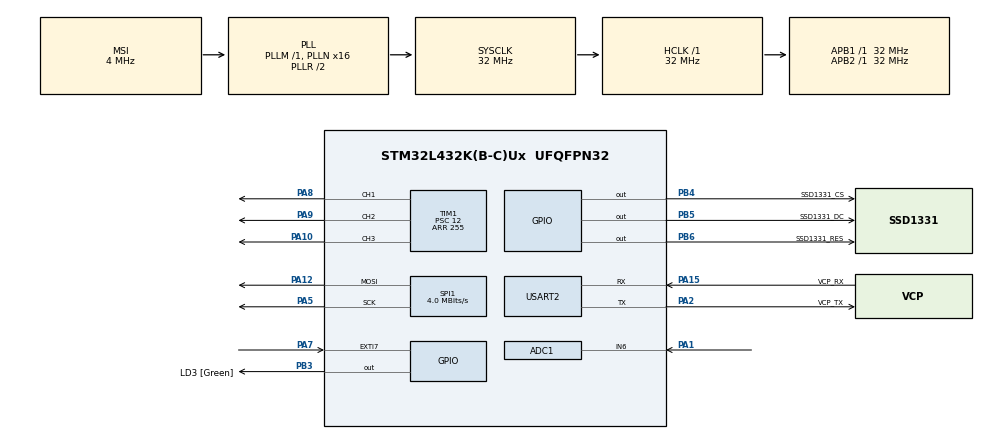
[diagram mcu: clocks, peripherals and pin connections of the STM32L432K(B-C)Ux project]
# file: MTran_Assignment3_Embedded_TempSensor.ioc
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ADC1.Channel-0\#ChannelRegularConversion=ADC_CHANNEL_6
ADC1.NbrOfConversionFlag=1
ADC1.OffsetNumber-0\#ChannelRegularConversion=ADC_OFFSET_NONE
ADC1.Rank-0\#ChannelRegularConversion=1
ADC1.SamplingTime-0\#ChannelRegularConversion=ADC_SAMPLETIME_2CYCLES_5
ADC1.master=1
Mcu.Family=STM32L4
Mcu.Name=STM32L432K(B-C)Ux
Mcu.Package=UFQFPN32
NVIC.EXTI9_5_IRQn=true\:0\:0\:false\:false\:true\:true\:true\:true
NVIC.PriorityGroup=NVIC_PRIORITYGROUP_4
NVIC.TIM2_IRQn=true\:0\:0\:false\:false\:true\:true\:true\:true
PA0.GPIO_Label=MCO [High speed clock in]
PA0.Mode=HSE-External-Clock-Source-for-LittleOrca
PA0.Signal=RCC_CK_IN
PA1.Signal=ADCx_IN6
PA10.Signal=S_TIM1_CH3
PA12.Mode=TX_Only_Simplex_Unidirect_Master
PA12.Signal=SPI1_MOSI
PA13\ (JTMS-SWDIO).GPIO_Label=SWDIO
PA13\ (JTMS-SWDIO).Mode=Serial_Wire
PA13\ (JTMS-SWDIO).Signal=SYS_JTMS-SWDIO
PA14\ (JTCK-SWCLK).GPIO_Label=SWCLK
PA14\ (JTCK-SWCLK).Mode=Serial_Wire
PA14\ (JTCK-SWCLK).Signal=SYS_JTCK-SWCLK
PA15\ (JTDI).GPIO_Label=VCP_RX
PA15\ (JTDI).Mode=Asynchronous
PA15\ (JTDI).Signal=USART2_RX
PA2.GPIO_Label=VCP_TX
PA2.Mode=Asynchronous
PA2.Signal=USART2_TX
PA5.Mode=TX_Only_Simplex_Unidirect_Master
PA5.Signal=SPI1_SCK
PA7.GPIO_ModeDefaultEXTI=GPIO_MODE_IT_FALLING
PA7.GPIO_PuPd=GPIO_PULLUP
PA7.Signal=GPXTI7
PA8.Signal=S_TIM1_CH1
PA9.Signal=S_TIM1_CH2
PB3\ (JTDO-TRACESWO).GPIO_Label=LD3 [Green]
PB3\ (JTDO-TRACESWO).Signal=GPIO_Output
PB4\ (NJTRST).GPIO_Label=SSD1331_CS
PB4\ (NJTRST).Signal=GPIO_Output
PB5.GPIO_Label=SSD1331_DC
PB5.Signal=GPIO_Output
PB6.GPIO_Label=SSD1331_RES
PB6.Signal=GPIO_Output
PC14-OSC32_IN\ (PC14).Mode=LSE-External-Oscillator
PC14-OSC32_IN\ (PC14).Signal=RCC_OSC32_IN
PC15-OSC32_OUT\ (PC15).Mode=LSE-External-Oscillator
PC15-OSC32_OUT\ (PC15).Signal=RCC_OSC32_OUT
ProjectManager.HeapSize=0x200
ProjectManager.StackSize=0x400
ProjectManager.TargetToolchain=STM32CubeIDE
RCC.ADCFreq_Value=32000000
RCC.AHBFreq_Value=32000000
RCC.APB1Freq_Value=32000000
RCC.APB1TimFreq_Value=32000000
RCC.APB2Freq_Value=32000000
RCC.APB2TimFreq_Value=32000000
RCC.CortexFreq_Value=32000000
RCC.HCLKFreq_Value=32000000
RCC.HSE_VALUE=8000000
RCC.HSI16_VALUE=16000000
RCC.HSI48_VALUE=48000000
RCC.HSI_VALUE=16000000
RCC.MSI_VALUE=4000000
RCC.PLLMUL=RCC_PLLMUL_4
RCC.PLLN=16
RCC.PLLSAI1N=16
RCC.SYSCLKFreq_VALUE=32000000
RCC.SYSCLKSource=RCC_SYSCLKSOURCE_PLLCLK
RCC.USBFreq_Value=32000000
RCC.VCOOutputFreq_Value=64000000
SH.ADCx_IN6.0=ADC1_IN6,IN6-Single-Ended
SH.S_TIM1_CH1.0=TIM1_CH1,PWM Generation1 CH1
SH.S_TIM1_CH2.0=TIM1_CH2,PWM Generation2 CH2
SH.S_TIM1_CH3.0=TIM1_CH3,PWM Generation3 CH3
SPI1.BaudRatePrescaler=SPI_BAUDRATEPRESCALER_8
SPI1.CalculateBaudRate=4.0 MBits/s
SPI1.DataSize=SPI_DATASIZE_8BIT
SPI1.Direction=SPI_DIRECTION_2LINES
SPI1.Mode=SPI_MODE_MASTER
SPI1.VirtualType=VM_MASTER
TIM1.Channel-PWM\ Generation1\ CH1=TIM_CHANNEL_1
TIM1.Channel-PWM\ Generation2\ CH2=TIM_CHANNEL_2
TIM1.Channel-PWM\ Generation3\ CH3=TIM_CHANNEL_3
TIM1.Period=255
TIM1.Prescaler=12
TIM1.Pulse-PWM\ Generation3\ CH3=0
TIM2.Channel-PWM\ Generation1\ No\ Output=TIM_CHANNEL_1
TIM2.Period=19
TIM2.Prescaler=31999
USART2.VirtualMode-Asynchronous=VM_ASYNC
VP_TIM1_VS_ClockSourceINT.Mode=Internal
VP_TIM2_VS_ClockSourceINT.Mode=Internal
VP_TIM2_VS_no_output1.Mode=PWM Generation1 No Output
board=NUCLEO-L432KC

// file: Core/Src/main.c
/* USER CODE BEGIN Header */
/**
  ******************************************************************************
  * @file           : main.c
  * @brief          : Main program body
  ******************************************************************************
  * @attention
  *
  * Copyright (c) 2022 STMicroelectronics.
  * All rights reserved.
  *
  * This software is licensed under terms that can be found in the LICENSE file
  * in the root directory of this software component.
  * If no LICENSE file comes with this software, it is provided AS-IS.
  *
  ******************************************************************************
  */

/*
* FILE : main.c
* PROJECT : Temperature Sensor - Assignment #3
* PROGRAMMER : Minh Quan Tran
* FIRST VERSION : 2024-07-20
* DESCRIPTION : This file is the main code file to read an MCP9700A temperature sensor
* and display it to the OLed and RGB Led
*/
/* USER CODE END Header */
#include "main.h"

/* USER CODE BEGIN Includes */
#include "ssd1331.h"
#include "logo.h"
#include "stm32l4xx_hal_tim.h"
#include <string.h>
#include <stdio.h>
#include <stdbool.h>
/* USER CODE END Includes */

/* USER CODE BEGIN PTD */
typedef struct
{
	uint8_t red;
	uint8_t green;
	uint8_t blue;
} RGBColor;
/* USER CODE END PTD */

/* USER CODE BEGIN PD */
#define RED_LED    (RGBColor) {255,0,0}
#define YELLOW_LED (RGBColor) {255,255,0}
#define ORANGE_LED (RGBColor) {255,165,0}
#define BLUE_LED   (RGBColor) {0,0,255}
#define WHITE_LED  (RGBColor) {255,255,255}

#define CELSIUS 0
#define FAHREN  1
/* USER CODE END PD */

ADC_HandleTypeDef hadc1;

SPI_HandleTypeDef hspi1;

TIM_HandleTypeDef htim1;
TIM_HandleTypeDef htim2;

UART_HandleTypeDef huart2;

/* USER CODE BEGIN PV */
bool tempScale = CELSIUS;
/* USER CODE END PV */

void SystemClock_Config(void);
static void MX_GPIO_Init(void);
static void MX_USART2_UART_Init(void);
static void MX_SPI1_Init(void);
static void MX_ADC1_Init(void);
static void MX_TIM1_Init(void);
static void MX_TIM2_Init(void);

/* USER CODE BEGIN 0 */

/* FUNCTION : convertBitToTempValue
*
* DESCRIPTION : This function is used to convert the temperature that read from ADC
* which is a 12 bit value to a temperature value (Detail in MCP9700A datasheet).
* PARAMETERS :
*
* uint32_t adcBitValue : Temperature read from ADC.
*
* RETURNS :
* float tempCelsius: temperature value in Celsius.
*/
float convertBitToTempValue(uint32_t adcBitValue)
{
	float adcVoltageValue = 0.0;
	float tempCelsius     = 0.0;

	// Convert Bit to Voltage value
	adcVoltageValue = adcBitValue * 3.3 / 4095;

	// Convert Voltage to Temp value (Celsius)
	tempCelsius = ((adcVoltageValue * 1000) - 500) / 10;
	return tempCelsius;
}

/* FUNCTION : convertCelsiusToFahren
*
* DESCRIPTION : This function is used to convert the temperature from Celsius
* to Fahrenheit.
* PARAMETERS :
*
* float tempCelsius: temperature in Celsius.
*
* RETURNS : float (temperature in Fahrenheit
*/
float convertCelsiusToFahren(float tempCelsius)
{
	return tempCelsius * 1.8 + 32;
}

/* FUNCTION : displayTemp
*
* DESCRIPTION : This function is used to display the temperature to an OLED
* by converting the temperature to string value and use an display string
* function in ssd1331.c
* PARAMETERS :
*
* float temperature : temperature value
* uint16_t scale    : scale to tell if it CELSIUS or FAHRENHEIT
*
* RETURNS : VOID
*/
void displayTemp(float temperature, uint16_t scale )
{
	char tempStr[100];
	// Convert float to string
	sprintf(tempStr,"%.2f",temperature);

	// Check if *C or *F
	if (scale == CELSIUS)
	{
		sprintf(tempStr,"%.2f",temperature);
		strcat(tempStr,"C ");
	}
	else
	{
		temperature = convertCelsiusToFahren(temperature);
		sprintf(tempStr,"%.2f",temperature);
		strcat(tempStr,"F");
	}
	// Displaying temperature
	ssd1331_display_string(32, 10, tempStr, FONT_1608, RED);
}

/* FUNCTION : readTempSensor
*
* DESCRIPTION : This function is used to read the temperature using the ADC
* PARAMETERS : VOID
*
* RETURNS : VOID
*/
uint32_t readTempSensor(void)
{
	uint32_t adcBitValue = 0;
	/*##-3- Start the conversion process #######################################*/
	if (HAL_ADC_Start(&hadc1) != HAL_OK)
	{
	  /* Start Conversation Error */
		Error_Handler();
	}

	/*##-4- Wait for the end of conversion #####################################*/
	/*  For simplicity reasons, this example is just waiting till the end of the
	    conversion, but application may perform other tasks while conversion
	    operation is ongoing. */
	if (HAL_ADC_PollForConversion(&hadc1, 10) != HAL_OK)
	{
		/* End Of Conversion flag not set on time */
		Error_Handler();
	}
	else
	{
	  /* ADC conversion completed */
	  /*##-5- Get the converted value of regular channel  ########################*/
		adcBitValue = HAL_ADC_GetValue(&hadc1);
		HAL_ADC_Stop(&hadc1);
		return adcBitValue;
	}
	return NOTHING;
}

/* FUNCTION : setLed
*
* DESCRIPTION : This function is used to set the RGB LED by changing the duty cycle
* (pulse value) of each timer 1 channel.
*
* PARAMETERS :
*
* RGBColor ledColor: struct that contain the 3 RGB color value;
*
* RETURNS : VOID
*/
void setLed(RGBColor ledColor)
{
	__HAL_TIM_SET_COMPARE(&htim1, TIM_CHANNEL_1, ledColor.red);
	__HAL_TIM_SET_COMPARE(&htim1, TIM_CHANNEL_2, ledColor.green);
	__HAL_TIM_SET_COMPARE(&htim1, TIM_CHANNEL_3, ledColor.blue);
}

/* FUNCTION : getLedColor
*
* DESCRIPTION : This function is used to get the RGB Color value for the
* setLed function
*
* PARAMETERS :
*
* float temperature: temperature value in Celsius
*
* RETURNS : RGBColor : the duty cycle for each color
*/
RGBColor getLedColor(float temperature)
{
	if (temperature > 25.0)
	{
		return RED_LED;
	}
	else if (temperature > 15.0)
	{
		return ORANGE_LED;
	}
	else if (temperature > 5.0)
	{
		return YELLOW_LED;
	}
	else if (temperature > -15.0)
	{
		return BLUE_LED;
	}
	else
	{
		return WHITE_LED;
	}
}

/* FUNCTION : setLedFromTemp
*
* DESCRIPTION : This function compare the temperature value and set
* the RGB LED accordingly.
*
* PARAMETERS :
*
* float temperature: temperature value in Celsius
*
* RETURNS : VOID
*/
void setLedFromTemp(float temperature)
{
	RGBColor Color = getLedColor(temperature);
	setLed(Color);
}

/* FUNCTION : buttonCallback
*
* DESCRIPTION : This function is used to call back whenever button is pressed.
* The purpose is to toggle the scale to be either CELSIUS or FAHRENHEIT
*
* PARAMETERS : VOID
*
* RETURNS : VOID
*
*/
void buttonCallback(void)
{
	if (tempScale == CELSIUS)
	{
		tempScale = FAHREN;
	}
	else
	{
		tempScale = CELSIUS;
	}
}

/* FUNCTION : HAL_GPIO_EXTI_Callback
*
* DESCRIPTION : This function is used to call back whenever there an external interrupt
* happen. It used to start the timer to count for 20ms
*
* PARAMETERS :
*
* uint16_t GPIO_Pin: PIN number
*
* RETURNS : VOID
*
*/
void HAL_GPIO_EXTI_Callback(uint16_t GPIO_Pin)
{
    if (GPIO_Pin == GPIO_PIN_7)
    {
        // Start a timer to handle debounce
        HAL_TIM_Base_Start_IT(&htim2);
    }
}

/* FUNCTION : HAL_TIM_PeriodElapsedCallback
*
* DESCRIPTION : This function is used to check the button state after
* 20ms to see if the button remained at a previous state (debounce)
*
* PARAMETERS :
*
* TIM_HandleTypeDef *htim: timer
*
* RETURNS : VOID
*
*/
void HAL_TIM_PeriodElapsedCallback(TIM_HandleTypeDef *htim)
{
    if (htim->Instance == TIM2) {
        // Stop the timer
        HAL_TIM_Base_Stop_IT(&htim2);

        // Check the button state after debounce time
        if (HAL_GPIO_ReadPin(GPIOA, GPIO_PIN_7) == GPIO_PIN_RESET)
        {
        	// Button is still pressed, call the buttonCallback function
        	buttonCallback();
        }
    }
}
/* USER CODE END 0 */

int main(void)
{
  /* USER CODE BEGIN 1 */
	uint32_t tempADC;
	float    tempValue;
	uint16_t printFlag = 0;
  /* USER CODE END 1 */

  /* MCU Configuration--------------------------------------------------------*/

  /* Reset of all peripherals, Initializes the Flash interface and the Systick. */
  HAL_Init();

  /* Configure the system clock */
  SystemClock_Config();

  /* Initialize all configured peripherals */
  MX_GPIO_Init();
  MX_USART2_UART_Init();
  MX_SPI1_Init();
  MX_ADC1_Init();
  MX_TIM1_Init();
  MX_TIM2_Init();
  /* USER CODE BEGIN 2 */

  //Start timer 1
  HAL_TIM_PWM_Start(&htim1, TIM_CHANNEL_1);
  HAL_TIM_PWM_Start(&htim1, TIM_CHANNEL_2);
  HAL_TIM_PWM_Start(&htim1, TIM_CHANNEL_3);

  // Start OLed and Display a green rectangle
  ssd1331_init();
  ssd1331_clear_screen(BLACK);
  ssd1331_draw_rect(0, 0, 90, 60, GREEN);
  /* USER CODE END 2 */

  /* Infinite loop */
  /* USER CODE BEGIN WHILE */
  while (1)
  {
	  // Get ADC Value
	  tempADC = readTempSensor();

	  // Convert ADC value to Temperature value (Celsius)
	  tempValue = convertBitToTempValue(tempADC);

	  // Display/Update temperature on OLed every 100ms
	  printFlag++;
	  if (printFlag == 100)
	  {
		  displayTemp(tempValue,tempScale);
		  printFlag = 0;
	  }
	  HAL_Delay(1);

	  // Set LED Color
	  setLedFromTemp(tempValue);

    /* USER CODE END WHILE */

    /* USER CODE BEGIN 3 */
  }
  return 0;
  /* USER CODE END 3 */
}

void SystemClock_Config(void)
{
  RCC_OscInitTypeDef RCC_OscInitStruct = {0};
  RCC_ClkInitTypeDef RCC_ClkInitStruct = {0};

  /** Configure the main internal regulator output voltage
  */
  if (HAL_PWREx_ControlVoltageScaling(PWR_REGULATOR_VOLTAGE_SCALE1) != HAL_OK)
  {
    Error_Handler();
  }

  /** Configure LSE Drive Capability
  */
  HAL_PWR_EnableBkUpAccess();
  __HAL_RCC_LSEDRIVE_CONFIG(RCC_LSEDRIVE_LOW);

  /** Initializes the RCC Oscillators according to the specified parameters
  * in the RCC_OscInitTypeDef structure.
  */
  RCC_OscInitStruct.OscillatorType = RCC_OSCILLATORTYPE_LSE|RCC_OSCILLATORTYPE_MSI;
  RCC_OscInitStruct.LSEState = RCC_LSE_ON;
  RCC_OscInitStruct.MSIState = RCC_MSI_ON;
  RCC_OscInitStruct.MSICalibrationValue = 0;
  RCC_OscInitStruct.MSIClockRange = RCC_MSIRANGE_6;
  RCC_OscInitStruct.PLL.PLLState = RCC_PLL_ON;
  RCC_OscInitStruct.PLL.PLLSource = RCC_PLLSOURCE_MSI;
  RCC_OscInitStruct.PLL.PLLM = 1;
  RCC_OscInitStruct.PLL.PLLN = 16;
  RCC_OscInitStruct.PLL.PLLP = RCC_PLLP_DIV7;
  RCC_OscInitStruct.PLL.PLLQ = RCC_PLLQ_DIV2;
  RCC_OscInitStruct.PLL.PLLR = RCC_PLLR_DIV2;
  if (HAL_RCC_OscConfig(&RCC_OscInitStruct) != HAL_OK)
  {
    Error_Handler();
  }

  /** Initializes the CPU, AHB and APB buses clocks
  */
  RCC_ClkInitStruct.ClockType = RCC_CLOCKTYPE_HCLK|RCC_CLOCKTYPE_SYSCLK
                              |RCC_CLOCKTYPE_PCLK1|RCC_CLOCKTYPE_PCLK2;
  RCC_ClkInitStruct.SYSCLKSource = RCC_SYSCLKSOURCE_PLLCLK;
  RCC_ClkInitStruct.AHBCLKDivider = RCC_SYSCLK_DIV1;
  RCC_ClkInitStruct.APB1CLKDivider = RCC_HCLK_DIV1;
  RCC_ClkInitStruct.APB2CLKDivider = RCC_HCLK_DIV1;

  if (HAL_RCC_ClockConfig(&RCC_ClkInitStruct, FLASH_LATENCY_1) != HAL_OK)
  {
    Error_Handler();
  }

  /** Enable MSI Auto calibration
  */
  HAL_RCCEx_EnableMSIPLLMode();
}

static void MX_ADC1_Init(void)
{

  ADC_ChannelConfTypeDef sConfig = {0};

  /** Common config
  */
  hadc1.Instance = ADC1;
  hadc1.Init.ClockPrescaler = ADC_CLOCK_ASYNC_DIV1;
  hadc1.Init.Resolution = ADC_RESOLUTION_12B;
  hadc1.Init.DataAlign = ADC_DATAALIGN_RIGHT;
  hadc1.Init.ScanConvMode = ADC_SCAN_DISABLE;
  hadc1.Init.EOCSelection = ADC_EOC_SINGLE_CONV;
  hadc1.Init.LowPowerAutoWait = DISABLE;
  hadc1.Init.ContinuousConvMode = DISABLE;
  hadc1.Init.NbrOfConversion = 1;
  hadc1.Init.DiscontinuousConvMode = DISABLE;
  hadc1.Init.ExternalTrigConv = ADC_SOFTWARE_START;
  hadc1.Init.ExternalTrigConvEdge = ADC_EXTERNALTRIGCONVEDGE_NONE;
  hadc1.Init.DMAContinuousRequests = DISABLE;
  hadc1.Init.Overrun = ADC_OVR_DATA_PRESERVED;
  hadc1.Init.OversamplingMode = DISABLE;
  if (HAL_ADC_Init(&hadc1) != HAL_OK)
  {
    Error_Handler();
  }

  /** Configure Regular Channel
  */
  sConfig.Channel = ADC_CHANNEL_6;
  sConfig.Rank = ADC_REGULAR_RANK_1;
  sConfig.SamplingTime = ADC_SAMPLETIME_2CYCLES_5;
  sConfig.SingleDiff = ADC_SINGLE_ENDED;
  sConfig.OffsetNumber = ADC_OFFSET_NONE;
  sConfig.Offset = 0;
  if (HAL_ADC_ConfigChannel(&hadc1, &sConfig) != HAL_OK)
  {
    Error_Handler();
  }

}

static void MX_SPI1_Init(void)
{

  /* SPI1 parameter configuration*/
  hspi1.Instance = SPI1;
  hspi1.Init.Mode = SPI_MODE_MASTER;
  hspi1.Init.Direction = SPI_DIRECTION_2LINES;
  hspi1.Init.DataSize = SPI_DATASIZE_8BIT;
  hspi1.Init.CLKPolarity = SPI_POLARITY_LOW;
  hspi1.Init.CLKPhase = SPI_PHASE_1EDGE;
  hspi1.Init.NSS = SPI_NSS_SOFT;
  hspi1.Init.BaudRatePrescaler = SPI_BAUDRATEPRESCALER_8;
  hspi1.Init.FirstBit = SPI_FIRSTBIT_MSB;
  hspi1.Init.TIMode = SPI_TIMODE_DISABLE;
  hspi1.Init.CRCCalculation = SPI_CRCCALCULATION_DISABLE;
  hspi1.Init.CRCPolynomial = 7;
  hspi1.Init.CRCLength = SPI_CRC_LENGTH_DATASIZE;
  hspi1.Init.NSSPMode = SPI_NSS_PULSE_ENABLE;
  if (HAL_SPI_Init(&hspi1) != HAL_OK)
  {
    Error_Handler();
  }

}

static void MX_TIM1_Init(void)
{

  TIM_ClockConfigTypeDef sClockSourceConfig = {0};
  TIM_MasterConfigTypeDef sMasterConfig = {0};
  TIM_OC_InitTypeDef sConfigOC = {0};
  TIM_BreakDeadTimeConfigTypeDef sBreakDeadTimeConfig = {0};

  htim1.Instance = TIM1;
  htim1.Init.Prescaler = 12;
  htim1.Init.CounterMode = TIM_COUNTERMODE_UP;
  htim1.Init.Period = 255;
  htim1.Init.ClockDivision = TIM_CLOCKDIVISION_DIV1;
  htim1.Init.RepetitionCounter = 0;
  htim1.Init.AutoReloadPreload = TIM_AUTORELOAD_PRELOAD_DISABLE;
  if (HAL_TIM_Base_Init(&htim1) != HAL_OK)
  {
    Error_Handler();
  }
  sClockSourceConfig.ClockSource = TIM_CLOCKSOURCE_INTERNAL;
  if (HAL_TIM_ConfigClockSource(&htim1, &sClockSourceConfig) != HAL_OK)
  {
    Error_Handler();
  }
  if (HAL_TIM_PWM_Init(&htim1) != HAL_OK)
  {
    Error_Handler();
  }
  sMasterConfig.MasterOutputTrigger = TIM_TRGO_RESET;
  sMasterConfig.MasterOutputTrigger2 = TIM_TRGO2_RESET;
  sMasterConfig.MasterSlaveMode = TIM_MASTERSLAVEMODE_DISABLE;
  if (HAL_TIMEx_MasterConfigSynchronization(&htim1, &sMasterConfig) != HAL_OK)
  {
    Error_Handler();
  }
  sConfigOC.OCMode = TIM_OCMODE_PWM1;
  sConfigOC.Pulse = 0;
  sConfigOC.OCPolarity = TIM_OCPOLARITY_HIGH;
  sConfigOC.OCNPolarity = TIM_OCNPOLARITY_HIGH;
  sConfigOC.OCFastMode = TIM_OCFAST_DISABLE;
  sConfigOC.OCIdleState = TIM_OCIDLESTATE_RESET;
  sConfigOC.OCNIdleState = TIM_OCNIDLESTATE_RESET;
  if (HAL_TIM_PWM_ConfigChannel(&htim1, &sConfigOC, TIM_CHANNEL_1) != HAL_OK)
  {
    Error_Handler();
  }
  if (HAL_TIM_PWM_ConfigChannel(&htim1, &sConfigOC, TIM_CHANNEL_2) != HAL_OK)
  {
    Error_Handler();
  }
  if (HAL_TIM_PWM_ConfigChannel(&htim1, &sConfigOC, TIM_CHANNEL_3) != HAL_OK)
  {
    Error_Handler();
  }
  sBreakDeadTimeConfig.OffStateRunMode = TIM_OSSR_DISABLE;
  sBreakDeadTimeConfig.OffStateIDLEMode = TIM_OSSI_DISABLE;
  sBreakDeadTimeConfig.LockLevel = TIM_LOCKLEVEL_OFF;
  sBreakDeadTimeConfig.DeadTime = 0;
  sBreakDeadTimeConfig.BreakState = TIM_BREAK_DISABLE;
  sBreakDeadTimeConfig.BreakPolarity = TIM_BREAKPOLARITY_HIGH;
  sBreakDeadTimeConfig.BreakFilter = 0;
  sBreakDeadTimeConfig.Break2State = TIM_BREAK2_DISABLE;
  sBreakDeadTimeConfig.Break2Polarity = TIM_BREAK2POLARITY_HIGH;
  sBreakDeadTimeConfig.Break2Filter = 0;
  sBreakDeadTimeConfig.AutomaticOutput = TIM_AUTOMATICOUTPUT_DISABLE;
  if (HAL_TIMEx_ConfigBreakDeadTime(&htim1, &sBreakDeadTimeConfig) != HAL_OK)
  {
    Error_Handler();
  }
  HAL_TIM_MspPostInit(&htim1);

}

static void MX_TIM2_Init(void)
{

  TIM_ClockConfigTypeDef sClockSourceConfig = {0};
  TIM_MasterConfigTypeDef sMasterConfig = {0};
  TIM_OC_InitTypeDef sConfigOC = {0};

  htim2.Instance = TIM2;
  htim2.Init.Prescaler = 31999;
  htim2.Init.CounterMode = TIM_COUNTERMODE_UP;
  htim2.Init.Period = 19;
  htim2.Init.ClockDivision = TIM_CLOCKDIVISION_DIV1;
  htim2.Init.AutoReloadPreload = TIM_AUTORELOAD_PRELOAD_DISABLE;
  if (HAL_TIM_Base_Init(&htim2) != HAL_OK)
  {
    Error_Handler();
  }
  sClockSourceConfig.ClockSource = TIM_CLOCKSOURCE_INTERNAL;
  if (HAL_TIM_ConfigClockSource(&htim2, &sClockSourceConfig) != HAL_OK)
  {
    Error_Handler();
  }
  if (HAL_TIM_PWM_Init(&htim2) != HAL_OK)
  {
    Error_Handler();
  }
  sMasterConfig.MasterOutputTrigger = TIM_TRGO_RESET;
  sMasterConfig.MasterSlaveMode = TIM_MASTERSLAVEMODE_DISABLE;
  if (HAL_TIMEx_MasterConfigSynchronization(&htim2, &sMasterConfig) != HAL_OK)
  {
    Error_Handler();
  }
  sConfigOC.OCMode = TIM_OCMODE_PWM1;
  sConfigOC.Pulse = 0;
  sConfigOC.OCPolarity = TIM_OCPOLARITY_HIGH;
  sConfigOC.OCFastMode = TIM_OCFAST_DISABLE;
  if (HAL_TIM_PWM_ConfigChannel(&htim2, &sConfigOC, TIM_CHANNEL_1) != HAL_OK)
  {
    Error_Handler();
  }

}

static void MX_USART2_UART_Init(void)
{

  huart2.Instance = USART2;
  huart2.Init.BaudRate = 115200;
  huart2.Init.WordLength = UART_WORDLENGTH_8B;
  huart2.Init.StopBits = UART_STOPBITS_1;
  huart2.Init.Parity = UART_PARITY_NONE;
  huart2.Init.Mode = UART_MODE_TX_RX;
  huart2.Init.HwFlowCtl = UART_HWCONTROL_NONE;
  huart2.Init.OverSampling = UART_OVERSAMPLING_16;
  huart2.Init.OneBitSampling = UART_ONE_BIT_SAMPLE_DISABLE;
  huart2.AdvancedInit.AdvFeatureInit = UART_ADVFEATURE_NO_INIT;
  if (HAL_UART_Init(&huart2) != HAL_OK)
  {
    Error_Handler();
  }

}

static void MX_GPIO_Init(void)
{
  GPIO_InitTypeDef GPIO_InitStruct = {0};

  /* GPIO Ports Clock Enable */
  __HAL_RCC_GPIOC_CLK_ENABLE();
  __HAL_RCC_GPIOA_CLK_ENABLE();
  __HAL_RCC_GPIOB_CLK_ENABLE();

  /*Configure GPIO pin Output Level */
  HAL_GPIO_WritePin(GPIOB, LD3_Pin|SSD1331_CS_Pin|SSD1331_DC_Pin|SSD1331_RES_Pin, GPIO_PIN_RESET);

  /*Configure GPIO pin : PA7 */
  GPIO_InitStruct.Pin = GPIO_PIN_7;
  GPIO_InitStruct.Mode = GPIO_MODE_IT_FALLING;
  GPIO_InitStruct.Pull = GPIO_PULLUP;
  HAL_GPIO_Init(GPIOA, &GPIO_InitStruct);

  /*Configure GPIO pins : LD3_Pin SSD1331_CS_Pin SSD1331_DC_Pin SSD1331_RES_Pin */
  GPIO_InitStruct.Pin = LD3_Pin|SSD1331_CS_Pin|SSD1331_DC_Pin|SSD1331_RES_Pin;
  GPIO_InitStruct.Mode = GPIO_MODE_OUTPUT_PP;
  GPIO_InitStruct.Pull = GPIO_NOPULL;
  GPIO_InitStruct.Speed = GPIO_SPEED_FREQ_LOW;
  HAL_GPIO_Init(GPIOB, &GPIO_InitStruct);

  /* EXTI interrupt init*/
  HAL_NVIC_SetPriority(EXTI9_5_IRQn, 0, 0);
  HAL_NVIC_EnableIRQ(EXTI9_5_IRQn);

}

void Error_Handler(void)
{
  __disable_irq();
  while (1)
  {
  }
}
